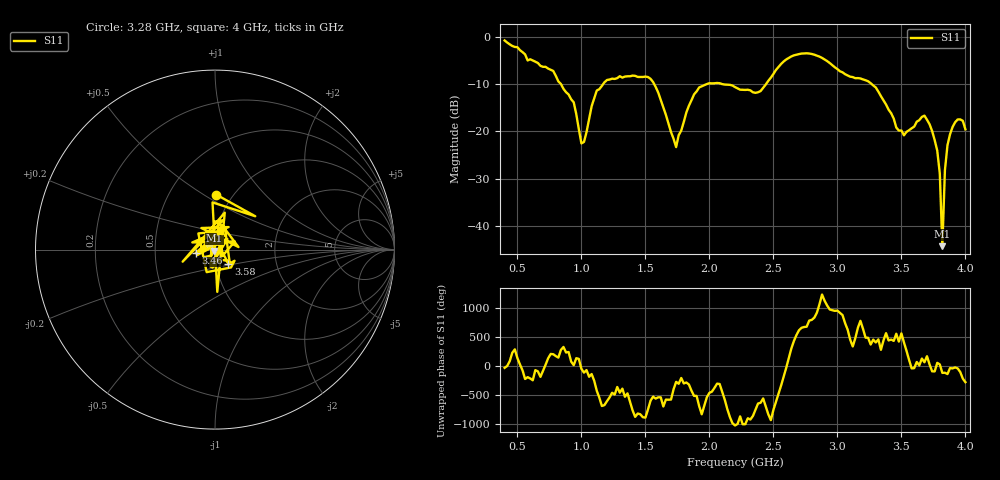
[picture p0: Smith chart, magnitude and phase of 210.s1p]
!Created with skrf (http://scikit-rf.org).
# Hz S RI R 50.0
!freq ReS11 ImS11
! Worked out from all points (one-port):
!   181 points, 400 MHz to 4 GHz, reference 50 ohm
!   lowest |S11| = -44.2 dB at 3.82 GHz (marker M1), VSWR 1.01, Z = 49.7 - j0.502 ohm
!   |S11| at or under -10 dB: 1.568 GHz to 1.979 GHz (410.6 MHz wide, 23.1 % of centre); 2.1 GHz to 2.443 GHz (343.1 MHz wide, 15.1 % of centre); 3.268 GHz to end of sweep (the widest 3 of 4)
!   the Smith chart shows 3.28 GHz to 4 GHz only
!   S11 on the Smith chart (normalised r, x): 3.28 GHz: 0.84, +0.57; 3.46 GHz: 0.80, -0.03; 3.58 GHz: 1.15, -0.18; 4 GHz: 1.03, +0.21
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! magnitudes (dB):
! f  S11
! 400 MHz  -0.8
! 780 MHz  -7.2
! 860 MHz  -11.0
! 940 MHz  -13.8
! 1 GHz  -22.5
! 1.12 GHz  -11.4
! 1.3 GHz  -8.3
! 1.54 GHz  -8.9
! 1.74 GHz  -23.3
! 1.76 GHz  -20.8
! 1.92 GHz  -10.7
! 2.2 GHz  -10.6
! 2.4 GHz  -11.5
! 2.66 GHz  -3.9
! 2.86 GHz  -4.2
! 3.1 GHz  -8.4
! 3.28 GHz  -10.3
! 3.46 GHz  -19.2
! 3.56 GHz  -19.7
! 3.58 GHz  -19.3
! 3.68 GHz  -16.7
! 3.76 GHz  -21.8
! 3.8 GHz  -28.9
! 3.82 GHz  -44.2
! 3.84 GHz  -28.2
! 3.86 GHz  -22.9
! 3.94 GHz  -17.5
! 4 GHz  -19.6
